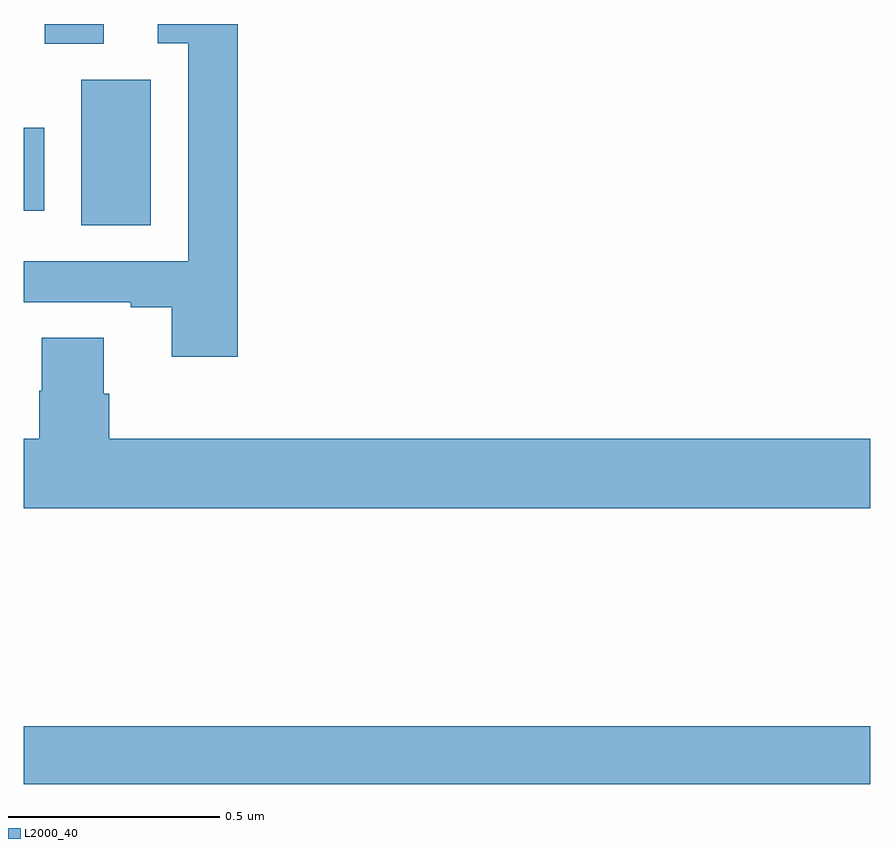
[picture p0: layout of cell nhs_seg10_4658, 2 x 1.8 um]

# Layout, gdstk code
import gdstk
lib = gdstk.Library(unit=1e-6, precision=1e-09)
def R(c, l, rs):  # rectangles x0, y0, x1, y1
    for r in rs: c.add(gdstk.rectangle(r[:2], r[2:], *l))
def P(c, l, *ps):  # polygons
    for p in ps: c.add(gdstk.Polygon(p, *l))
L2000_40 = (2000, 40)

nhs_seg10_4658 = lib.new_cell('nhs_seg10_4658')
R(nhs_seg10_4658, L2000_40, [(169,1259.704,171,1259.84), (169.136,1261.024,169.3,1261.368), (169,1261.059,169.048,1261.255), (169.049,1261.453,169.189,1261.5)])
P(nhs_seg10_4658, L2000_40, [(169.505,1261.5),(169.317,1261.5),(169.317,1261.455),(169.389,1261.455),(169.389,1260.939),(169,1260.939),(169,1260.843),(169.253,1260.843),(169.253,1260.831),(169.349,1260.831),(169.349,1260.714),(169.505,1260.714)],
  [(171,1260.52),(169.202,1260.52),(169.202,1260.626),(169.189,1260.626),(169.189,1260.758),(169.042,1260.758),(169.042,1260.633),(169.037,1260.633),(169.037,1260.52),(169,1260.52),(169,1260.356),(171,1260.356)])

lib.write_gds('nhs_seg10_4658.gds')
